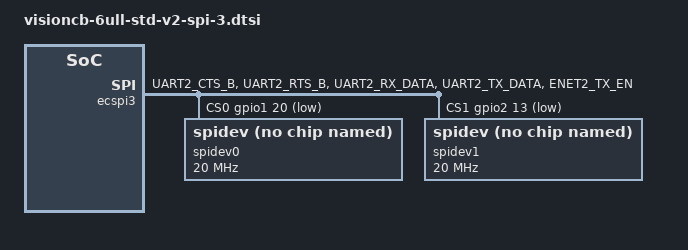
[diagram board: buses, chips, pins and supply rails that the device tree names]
/*
 * This program is free software; you can redistribute it and/or modify
 * it under the terms of the GNU General Public License version 2 as
 * published by the Free Software Foundation.
 */

/* IO multiplexing */
&iomuxc {
	/* SPI3 */
	pinctrl_ecspi3: ecspi3 {
		fsl,pins = <
			MX6UL_PAD_UART2_CTS_B__ECSPI3_MOSI   0x0b0b0
			MX6UL_PAD_UART2_RTS_B__ECSPI3_MISO   0x0b0b0
			MX6UL_PAD_UART2_RX_DATA__ECSPI3_SCLK 0x0b0b0
			MX6UL_PAD_UART2_TX_DATA__GPIO1_IO20  0x0b0b0
			MX6UL_PAD_ENET2_TX_EN__GPIO2_IO13    0x0b0b0
		>;
	};
};

/* SPI3 */
&ecspi3 {
	pinctrl-names = "default";
	pinctrl-0 = <&pinctrl_ecspi3>;
	fsl,spi-num-chipselects = <2>;
	cs-gpios = <&gpio1 20 GPIO_ACTIVE_LOW &gpio2 13 GPIO_ACTIVE_LOW>;
	status = "okay";

	spidev0: spi@0 {
		compatible = "spidev";
		reg = <0>;
		spi-max-frequency = <20000000>;
	};
	spidev1: spi@1 {
		compatible = "spidev";
		reg = <1>;
		spi-max-frequency = <20000000>;
	};
};
